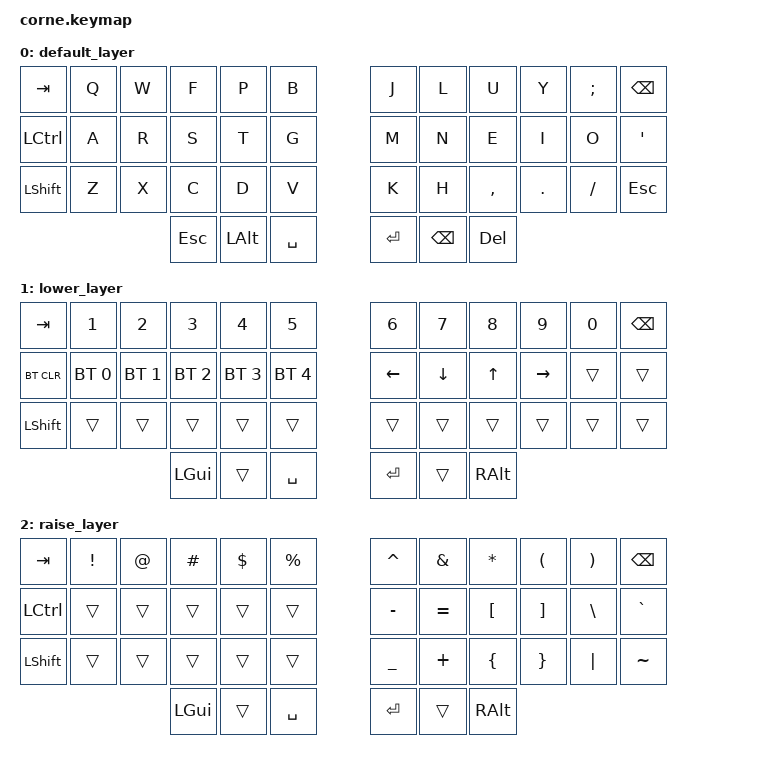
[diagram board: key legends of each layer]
/*
 * Copyright (c) 2020 The ZMK Contributors
 *
 * SPDX-License-Identifier: MIT
 */

#include <behaviors.dtsi>
#include <dt-bindings/zmk/bt.h>
#include <dt-bindings/zmk/keys.h>

/ {
    behaviors {
        new_behavior: new_behavior {
            compatible = "zmk,behavior-toggle-layer";
            label = "NEW_BEHAVIOR";
            #binding-cells = <1>;
        };
    };

    keymap {
        compatible = "zmk,keymap";

        default_layer {
            // -----------------------------------------------------------------------------------------
            // |  TAB |  Q  |  W  |  E  |  R  |  T  |   |  Y  |  U   |  I  |  O  |  P  | BSPC |
            // | CTRL |  A  |  S  |  D  |  F  |  G  |   |  H  |  J   |  K  |  L  |  ;  |  '   |
            // | SHFT |  Z  |  X  |  C  |  V  |  B  |   |  N  |  M   |  ,  |  .  |  /  | ESC  |
            //                    | GUI | LWR | SPC |   | ENT | RSE  | ALT |

            bindings = <
&kp TAB    &kp Q  &kp W  &kp F       &kp P     &kp B        &kp J    &kp L          &kp U      &kp Y    &kp SEMICOLON  &kp BSPC
&kp LCTRL  &kp A  &kp R  &kp S       &kp T     &kp G        &kp M    &kp N          &kp E      &kp I    &kp O          &kp SQT
&kp LSHFT  &kp Z  &kp X  &kp C       &kp D     &kp V        &kp K    &kp H          &kp COMMA  &kp DOT  &kp FSLH       &kp ESC
                         &kp ESCAPE  &kp LALT  &kp SPACE    &kp RET  &kp BACKSPACE  &kp DEL
            >;
        };

        lower_layer {
            // -----------------------------------------------------------------------------------------
            // |  TAB |  1  |  2  |  3  |  4  |  5  |   |  6  |  7  |  8  |  9  |  0  | BSPC |
            // | BTCLR| BT1 | BT2 | BT3 | BT4 | BT5 |   | LFT | DWN |  UP | RGT |     |      |
            // | SHFT |     |     |     |     |     |   |     |     |     |     |     |      |
            //                    | GUI |     | SPC |   | ENT |     | ALT |

            bindings = <
&kp TAB     &kp N1        &kp N2        &kp N3        &kp N4        &kp N5          &kp N6    &kp N7    &kp N8    &kp N9     &kp N0  &kp BSPC
&bt BT_CLR  &bt BT_SEL 0  &bt BT_SEL 1  &bt BT_SEL 2  &bt BT_SEL 3  &bt BT_SEL 4    &kp LEFT  &kp DOWN  &kp UP    &kp RIGHT  &trans  &trans
&kp LSHFT   &trans        &trans        &trans        &trans        &trans          &trans    &trans    &trans    &trans     &trans  &trans
                                        &kp LGUI      &trans        &kp SPACE       &kp RET   &trans    &kp RALT
            >;
        };

        raise_layer {
            // -----------------------------------------------------------------------------------------
            // |  TAB |  !  |  @  |  #  |  $  |  %  |   |  ^  |  &  |  *  |  (  |  )  | BSPC |
            // | CTRL |     |     |     |     |     |   |  -  |  =  |  [  |  ]  |  \  |  `   |
            // | SHFT |     |     |     |     |     |   |  _  |  +  |  {  |  }  | "|" |  ~   |
            //                    | GUI |     | SPC |   | ENT |     | ALT |

            bindings = <
&kp TAB    &kp EXCL  &kp AT  &kp HASH  &kp DLLR  &kp PRCNT    &kp CARET  &kp AMPS   &kp ASTRK  &kp LPAR  &kp RPAR  &kp BSPC
&kp LCTRL  &trans    &trans  &trans    &trans    &trans       &kp MINUS  &kp EQUAL  &kp LBKT   &kp RBKT  &kp BSLH  &kp GRAVE
&kp LSHFT  &trans    &trans  &trans    &trans    &trans       &kp UNDER  &kp PLUS   &kp LBRC   &kp RBRC  &kp PIPE  &kp TILDE
                             &kp LGUI  &trans    &kp SPACE    &kp RET    &trans     &kp RALT
            >;
        };
    };
};
